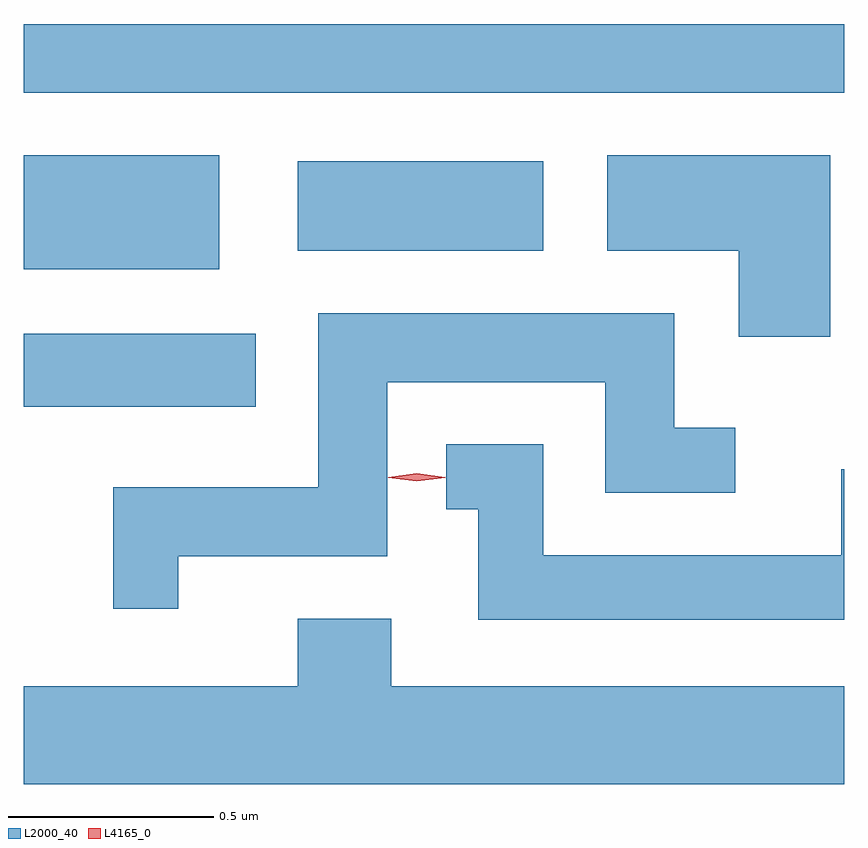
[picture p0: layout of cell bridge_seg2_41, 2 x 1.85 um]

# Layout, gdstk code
import gdstk
lib = gdstk.Library(unit=1e-6, precision=1e-09)
def R(c, l, rs):  # rectangles x0, y0, x1, y1
    for r in rs: c.add(gdstk.rectangle(r[:2], r[2:], *l))
def P(c, l, *ps):  # polygons
    for p in ps: c.add(gdstk.Polygon(p, *l))
L2000_40 = (2000, 40)
L4165_0 = (4165, 0)

bridge_seg2_41 = lib.new_cell('bridge_seg2_41')
R(bridge_seg2_41, L2000_40, [(1360.843,1062.586,1361.409,1062.764), (1360.843,1062.921,1361.319,1063.199), (1361.511,1062.966,1362.109,1063.184), (1360.843,1063.351,1362.843,1063.519)])
P(bridge_seg2_41, L2000_40, [(1362.809,1063.199),(1362.266,1063.199),(1362.266,1062.966),(1362.586,1062.966),(1362.586,1062.756),(1362.809,1062.756)],
  [(1361.219,1062.221),(1361.729,1062.221),(1361.729,1062.646),(1362.261,1062.646),(1362.261,1062.376),(1362.578,1062.376),(1362.578,1062.534),(1362.429,1062.534),(1362.429,1062.814),(1361.561,1062.814),(1361.561,1062.389),(1361.061,1062.389),(1361.061,1062.093),(1361.219,1062.093)],
  [(1362.843,1062.433),(1362.836,1062.433),(1362.836,1062.224),(1362.109,1062.224),(1362.109,1062.494),(1361.873,1062.494),(1361.873,1062.336),(1361.951,1062.336),(1361.951,1062.066),(1362.843,1062.066)],
  [(1362.843,1061.904),(1361.739,1061.904),(1361.739,1062.069),(1361.511,1062.069),(1361.511,1061.904),(1360.843,1061.904),(1360.843,1061.666),(1362.843,1061.666)])
P(bridge_seg2_41, L4165_0, [(1361.801,1062.404),(1361.732,1062.413),(1361.732,1062.414),(1361.732,1062.414),(1361.801,1062.424),(1361.871,1062.414),(1361.871,1062.414),(1361.871,1062.413)])

lib.write_gds('bridge_seg2_41.gds')
